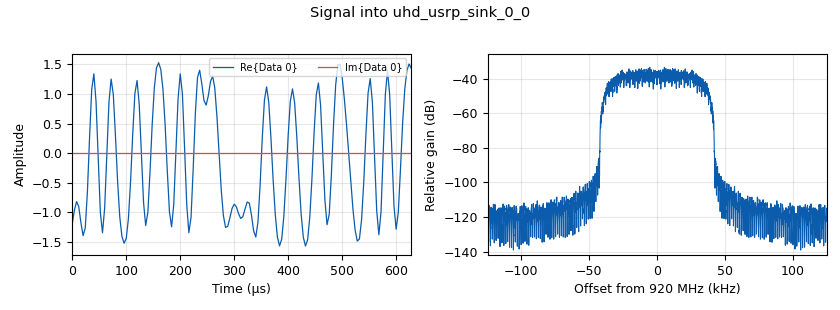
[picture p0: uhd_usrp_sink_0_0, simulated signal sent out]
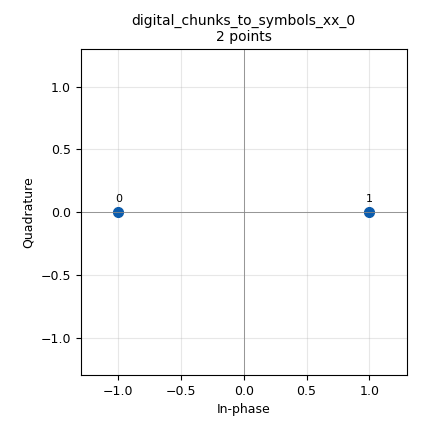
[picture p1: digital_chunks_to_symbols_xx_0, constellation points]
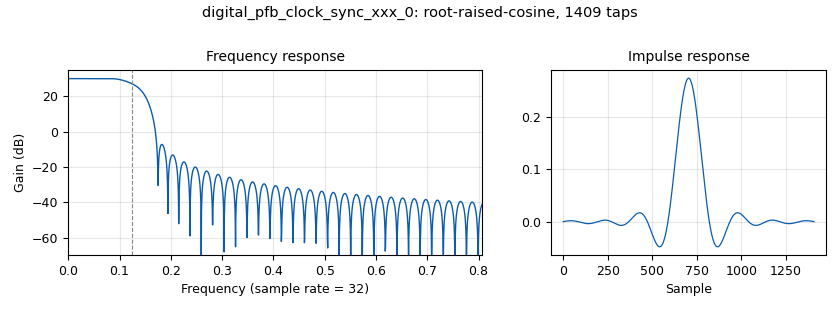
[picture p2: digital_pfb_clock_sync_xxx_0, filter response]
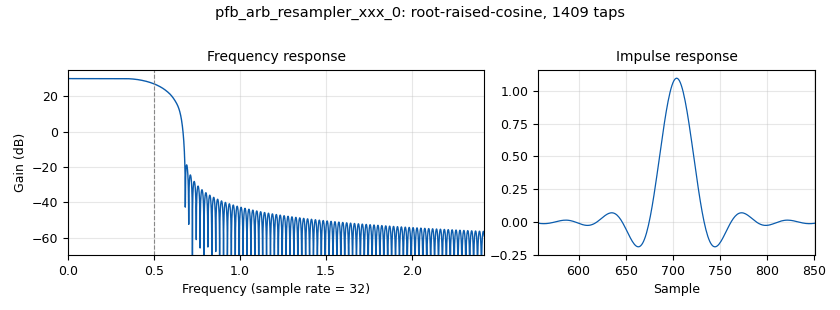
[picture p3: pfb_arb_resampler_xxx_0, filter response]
options:
  parameters:
    generate_options: qt_gui
    id: BPSK_software_simplex
    output_language: python
    title: BPSK_software_simplex
  states: {}

blocks:
- name: arity
  id: variable
  parameters:
    value: '2'
  states: {}
- name: d
  id: variable
  parameters:
    value: 1/(2**(1/2))
  states: {}
- name: delay
  id: variable_qtgui_range
  parameters:
    gui_hint: 'controls@0: 0,1,1,1'
    label: Delay
    rangeType: int
    start: '0'
    step: '1'
    stop: '200'
    value: '29'
  states: {}
- name: eq_gain
  id: variable_qtgui_range
  parameters:
    gui_hint: 'controls@1: 1,0,1,1'
    label: 'Equalizer: rate'
    start: '0.0'
    step: '0.0001'
    stop: '0.001'
    value: '0.0001'
  states: {}
- name: excess_bw
  id: variable
  parameters:
    value: '0.35'
  states: {}
- name: filt_delay
  id: variable
  parameters:
    value: int(1+(taps_per_filt-1)//2)
  states: {}
- name: freq
  id: variable
  parameters:
    value: '920000000'
  states: {}
- name: freq_offset
  id: variable_qtgui_range
  parameters:
    gui_hint: 'controls@0: 1,1,1,1'
    label: Frequency Offset
    start: '-0.1'
    step: '0.001'
    stop: '0.1'
    value: '0'
  states: {}
- name: gain_rx
  id: variable_qtgui_range
  parameters:
    gui_hint: 'controls@1: 0,0,1,1'
    label: gain_rx
    start: '0'
    step: '1'
    stop: '74'
    value: '50'
  states: {}
- name: gain_tx
  id: variable_qtgui_range
  parameters:
    gui_hint: 'controls@0: 0,0,1,1'
    label: gain_tx
    start: '0'
    step: '1'
    stop: '74'
    value: '50'
  states: {}
- name: nfilts
  id: variable
  parameters:
    value: '32'
  states: {}
- name: noise_volt
  id: variable_qtgui_range
  parameters:
    gui_hint: 'controls@0: 1,0,1,1'
    label: Noise Voltage
    start: '0'
    step: '0.01'
    stop: '2'
    value: '0'
  states: {}
- name: phase_bw
  id: variable_qtgui_range
  parameters:
    gui_hint: 'controls@1: 1,1,1,1'
    label: 'Phase: Bandwidth'
    start: '0.0'
    step: '0.01'
    stop: '0.1'
    value: 6.28/200
  states: {}
- name: rrc_taps
  id: variable
  parameters:
    value: firdes.root_raised_cosine(nfilts, nfilts, 1.0/float(sps), excess_bw, 11*sps*nfilts)
  states: {}
- name: rrc_taps_tx
  id: variable
  parameters:
    value: firdes.root_raised_cosine(nfilts, nfilts, 1.0, excess_bw, 11*sps*nfilts)
  states: {}
- name: samp_rate
  id: variable
  parameters:
    value: '250000'
  states: {}
- name: sps
  id: variable
  parameters:
    value: '4'
  states: {}
- name: taps
  id: variable
  parameters:
    value: '[0.825,0,0,0.526]'
  states: {}
- name: taps_0
  id: variable
  parameters:
    value: '[0.9,0,0,0,0.436]'
  states: {}
- name: taps_per_filt
  id: variable
  parameters:
    value: int((11*sps*nfilts)/nfilts)
  states: {}
- name: timing_loop_bw
  id: variable_qtgui_range
  parameters:
    gui_hint: 'controls@1: 0,1,1,1'
    label: timing_loop_bw
    start: '0.0'
    step: '0.001'
    stop: '0.1'
    value: 6.28/200
  states: {}
- name: variable_adaptive_algorithm_0
  id: variable_adaptive_algorithm
  parameters:
    cons: digital.constellation_bpsk().base()
    modulus: '1'
    step_size: eq_gain
    type: cma
  states: {}
- name: analog_random_source_x_0
  id: analog_random_source_x
  parameters:
    max: '256'
    min: '0'
    num_samps: '10000000'
    repeat: 'True'
    type: byte
  states: {}
- name: blocks_char_to_float_0_0
  id: blocks_char_to_float
  parameters:
    scale: '1'
  states: {}
- name: blocks_char_to_float_0_0_0
  id: blocks_char_to_float
  parameters:
    scale: '1'
  states: {}
- name: blocks_complex_to_mag_0
  id: blocks_complex_to_mag
  parameters: {}
  states: {}
- name: blocks_complex_to_mag_squared_0
  id: blocks_complex_to_mag_squared
  parameters: {}
  states: {state: disabled}
- name: blocks_delay_0
  id: blocks_delay
  parameters:
    delay: delay
    type: byte
  states: {}
- name: blocks_moving_average_xx_0
  id: blocks_moving_average_xx
  parameters:
    length: '10000'
    max_iter: '4000'
    scale: '0.0001'
    type: float
  states: {}
- name: blocks_packed_to_unpacked_xx_0
  id: blocks_packed_to_unpacked_xx
  parameters:
    bits_per_chunk: '1'
    endianness: gr.GR_MSB_FIRST
    type: byte
  states: {}
- name: blocks_throttle_0
  id: blocks_throttle
  parameters:
    samples_per_second: samp_rate
    type: complex
  states: {}
- name: blocks_unpack_k_bits_bb_0
  id: blocks_unpack_k_bits_bb
  parameters:
    k: '1'
  states: {}
- name: blocks_unpack_k_bits_bb_0_0
  id: blocks_unpack_k_bits_bb
  parameters:
    k: '8'
  states: {}
- name: channels_channel_model_0
  id: channels_channel_model
  parameters:
    epsilon: '1'
    freq_offset: freq_offset
    noise_voltage: noise_volt
    seed: '0'
    taps: taps_0
  states: {state: disabled}
- name: controls
  id: qtgui_tab_widget
  parameters:
    gui_hint: 0,0,1,2
    label0: TX
    label1: RX
    num_tabs: '2'
  states: {}
- name: digital_chunks_to_symbols_xx_0
  id: digital_chunks_to_symbols_xx
  parameters:
    dimension: '1'
    in_type: byte
    out_type: complex
    symbol_table: digital.constellation_bpsk().points()
  states: {}
- name: digital_constellation_decoder_cb_0
  id: digital_constellation_decoder_cb
  parameters:
    constellation: digital.constellation_bpsk().base()
  states: {}
- name: digital_costas_loop_cc_0
  id: digital_costas_loop_cc
  parameters:
    order: arity
    w: phase_bw
  states: {}
- name: digital_diff_decoder_bb_0_0
  id: digital_diff_decoder_bb
  parameters:
    coding: digital.DIFF_DIFFERENTIAL
    modulus: '2'
  states: {}
- name: digital_diff_encoder_bb_0
  id: digital_diff_encoder_bb
  parameters:
    coding: digital.DIFF_DIFFERENTIAL
    modulus: '2'
  states: {}
- name: digital_linear_equalizer_0
  id: digital_linear_equalizer
  parameters:
    alg: variable_adaptive_algorithm_0
    num_taps: '15'
    sps: '2'
  states: {}
- name: digital_pfb_clock_sync_xxx_0
  id: digital_pfb_clock_sync_xxx
  parameters:
    filter_size: nfilts
    init_phase: nfilts/2
    loop_bw: timing_loop_bw
    max_dev: '1.5'
    osps: '2'
    sps: sps
    taps: rrc_taps
    type: ccf
  states: {}
- name: pfb_arb_resampler_xxx_0
  id: pfb_arb_resampler_xxx
  parameters:
    atten: '100'
    nfilts: nfilts
    rrate: sps
    taps: rrc_taps_tx
    type: ccf
  states: {}
- name: qtgui_const_sink_x_0
  id: qtgui_const_sink_x
  parameters:
    grid: 'True'
    gui_hint: 2,0,1,1
    name: '"RX_Constellation"'
    size: '1024'
    type: complex
  states: {}
- name: qtgui_number_sink_0
  id: qtgui_number_sink
  parameters:
    graph_type: qtgui.NUM_GRAPH_HORIZ
    type: float
  states: {}
- name: qtgui_sink_x_1_0
  id: qtgui_sink_x
  parameters:
    bw: samp_rate
    fc: '0'
    fftsize: '1024'
    gui_hint: 1,1,1,1
    name: '"Rx_Signal"'
    showports: 'True'
    type: complex
  states: {}
- name: qtgui_time_sink_x_0
  id: qtgui_time_sink_x
  parameters:
    grid: 'True'
    gui_hint: 2,1,1,1
    label1: RX
    label2: TX
    name: '"TX_vs_RX_Bits"'
    nconnections: '2'
    size: '512'
    srate: samp_rate
    type: float
    ymax: '1.5'
    ymin: '-0.5'
  states: {}
- name: qtgui_time_sink_x_1
  id: qtgui_time_sink_x
  parameters:
    size: '1024'
    srate: samp_rate
    type: complex
    ymax: '2'
    ymin: '-2'
  states: {}
- name: uhd_usrp_sink_0_0
  id: uhd_usrp_sink
  parameters:
    ant0: '"TX/RX"'
    center_freq0: freq
    clock_rate: '0.0'
    dev_addr: '"serial=31DB5AB"'
    dev_args: '""'
    gain0: gain_tx
    len_tag_name: ''
    samp_rate: samp_rate
    sync: sync
    type: fc32
  states: {}
- name: uhd_usrp_source_0_0
  id: uhd_usrp_source
  parameters:
    ant0: '"TX/RX"'
    center_freq0: freq
    clock_rate: '0.0'
    dc_offs_enb0: disabled
    dev_addr: '"serial=31DB53A"'
    dev_args: '""'
    gain0: gain_rx
    iq_imbal_enb0: disabled
    samp_rate: samp_rate
    sync: none
    type: fc32
  states: {}
- name: virtual_sink_0
  id: virtual_sink
  parameters:
    stream_id: Tx_samples
  states: {state: disabled}
- name: virtual_source_0
  id: virtual_source
  parameters:
    stream_id: Tx_samples
  states: {state: disabled}

connections:
- [analog_random_source_x_0, '0', blocks_packed_to_unpacked_xx_0, '0']
- [analog_random_source_x_0, '0', blocks_unpack_k_bits_bb_0_0, '0']
- [blocks_char_to_float_0_0, '0', qtgui_time_sink_x_0, '0']
- [blocks_char_to_float_0_0_0, '0', qtgui_time_sink_x_0, '1']
- [blocks_complex_to_mag_0, '0', blocks_moving_average_xx_0, '0']
- [blocks_complex_to_mag_squared_0, '0', blocks_moving_average_xx_0, '0']
- [blocks_delay_0, '0', blocks_char_to_float_0_0_0, '0']
- [blocks_moving_average_xx_0, '0', qtgui_number_sink_0, '0']
- [blocks_packed_to_unpacked_xx_0, '0', digital_diff_encoder_bb_0, '0']
- [blocks_throttle_0, '0', channels_channel_model_0, '0']
- [blocks_unpack_k_bits_bb_0, '0', blocks_char_to_float_0_0, '0']
- [blocks_unpack_k_bits_bb_0_0, '0', blocks_delay_0, '0']
- [channels_channel_model_0, '0', uhd_usrp_sink_0_0, '0']
- [channels_channel_model_0, '0', virtual_sink_0, '0']
- [digital_chunks_to_symbols_xx_0, '0', pfb_arb_resampler_xxx_0, '0']
- [digital_constellation_decoder_cb_0, '0', digital_diff_decoder_bb_0_0, '0']
- [digital_costas_loop_cc_0, '0', digital_constellation_decoder_cb_0, '0']
- [digital_costas_loop_cc_0, '0', qtgui_const_sink_x_0, '0']
- [digital_diff_decoder_bb_0_0, '0', blocks_unpack_k_bits_bb_0, '0']
- [digital_diff_encoder_bb_0, '0', digital_chunks_to_symbols_xx_0, '0']
- [digital_linear_equalizer_0, '0', digital_costas_loop_cc_0, '0']
- [digital_pfb_clock_sync_xxx_0, '0', digital_linear_equalizer_0, '0']
- [digital_pfb_clock_sync_xxx_0, '0', qtgui_time_sink_x_1, '0']
- [pfb_arb_resampler_xxx_0, '0', blocks_throttle_0, '0']
- [pfb_arb_resampler_xxx_0, '0', uhd_usrp_sink_0_0, '0']
- [uhd_usrp_source_0_0, '0', blocks_complex_to_mag_0, '0']
- [uhd_usrp_source_0_0, '0', blocks_complex_to_mag_squared_0, '0']
- [uhd_usrp_source_0_0, '0', digital_pfb_clock_sync_xxx_0, '0']
- [uhd_usrp_source_0_0, '0', qtgui_sink_x_1_0, '0']
- [virtual_source_0, '0', blocks_complex_to_mag_0, '0']
- [virtual_source_0, '0', blocks_complex_to_mag_squared_0, '0']
- [virtual_source_0, '0', digital_pfb_clock_sync_xxx_0, '0']
- [virtual_source_0, '0', qtgui_sink_x_1_0, '0']

metadata:
  file_format: 1
  grc_version: 3.10.10.0
